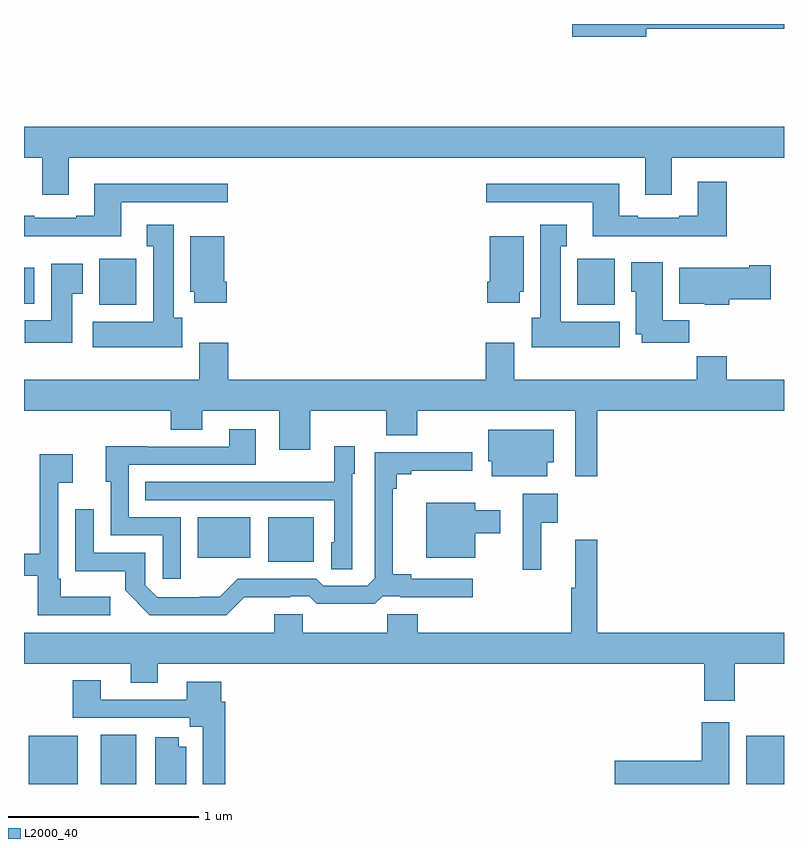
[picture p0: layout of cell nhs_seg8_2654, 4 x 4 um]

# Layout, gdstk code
import gdstk
lib = gdstk.Library(unit=1e-6, precision=1e-09)
def R(c, l, rs):  # rectangles x0, y0, x1, y1
    for r in rs: c.add(gdstk.rectangle(r[:2], r[2:], *l))
def P(c, l, *ps):  # polygons
    for p in ps: c.add(gdstk.Polygon(p, *l))
L2000_40 = (2000, 40)

nhs_seg8_2654 = lib.new_cell('nhs_seg8_2654')
R(nhs_seg8_2654, L2000_40, [(279.026,1083.9,279.283,1084.153), (279.404,1083.9,279.592,1084.159), (282.8,1083.9,283,1084.153), (280.286,1085.069,280.525,1085.305), (279.914,1085.09,280.192,1085.305), (279.395,1086.422,279.592,1086.664), (281.912,1086.422,282.109,1086.664), (279,1086.428,279.055,1086.616)])
P(nhs_seg8_2654, L2000_40, [(282.274,1087.876),(283,1087.876),(283,1087.9),(281.886,1087.9),(281.886,1087.834),(282.274,1087.834)],
  [(279.235,1087.196),(282.269,1087.196),(282.269,1087.002),(282.409,1087.002),(282.409,1087.196),(283,1087.196),(283,1087.36),(279,1087.36),(279,1087.196),(279.095,1087.196),(279.095,1087.002),(279.235,1087.002)],
  [(282.698,1087.069),(282.545,1087.069),(282.545,1086.892),(282.449,1086.892),(282.449,1086.879),(282.229,1086.879),(282.229,1086.892),(282.133,1086.892),(282.133,1087.06),(281.433,1087.06),(281.433,1086.963),(281.993,1086.963),(281.993,1086.782),(282.698,1086.782)],
  [(279.511,1086.963),(280.072,1086.963),(280.072,1087.06),(279.371,1087.06),(279.371,1086.892),(279.275,1086.892),(279.275,1086.879),(279.055,1086.879),(279.055,1086.892),(279,1086.892),(279,1086.782),(279.511,1086.782)],
  [(279.832,1086.354),(279.787,1086.354),(279.787,1086.844),(279.647,1086.844),(279.647,1086.731),(279.68,1086.731),(279.68,1086.334),(279.363,1086.334),(279.363,1086.2),(279.832,1086.2)],
  [(282.136,1086.334),(281.824,1086.334),(281.824,1086.731),(281.857,1086.731),(281.857,1086.844),(281.717,1086.844),(281.717,1086.354),(281.672,1086.354),(281.672,1086.2),(282.136,1086.2)],
  [(280.067,1086.544),(280.054,1086.544),(280.054,1086.784),(279.875,1086.784),(279.875,1086.492),(279.896,1086.492),(279.896,1086.432),(280.067,1086.432)],
  [(281.608,1086.492),(281.629,1086.492),(281.629,1086.784),(281.45,1086.784),(281.45,1086.544),(281.438,1086.544),(281.438,1086.432),(281.608,1086.432)],
  [(282.5,1086.34),(282.361,1086.34),(282.361,1086.646),(282.197,1086.646),(282.197,1086.492),(282.221,1086.492),(282.221,1086.266),(282.251,1086.266),(282.251,1086.222),(282.5,1086.222)],
  [(279.253,1086.481),(279.31,1086.481),(279.31,1086.637),(279.143,1086.637),(279.143,1086.34),(279.004,1086.34),(279.004,1086.222),(279.253,1086.222)],
  [(282.713,1086.451),(282.931,1086.451),(282.931,1086.629),(282.818,1086.629),(282.818,1086.616),(282.449,1086.616),(282.449,1086.428),(282.582,1086.428),(282.582,1086.422),(282.713,1086.422)],
  [(282.017,1085.864),(283,1085.864),(283,1086.028),(282.698,1086.028),(282.698,1086.152),(282.541,1086.152),(282.541,1086.028),(281.581,1086.028),(281.581,1086.223),(281.429,1086.223),(281.429,1086.028),(280.076,1086.028),(280.076,1086.223),(279.923,1086.223),(279.923,1086.028),(279,1086.028),(279,1085.864),(279.773,1085.864),(279.773,1085.765),(279.937,1085.765),(279.937,1085.864),(280.343,1085.864),(280.343,1085.658),(280.507,1085.658),(280.507,1085.864),(280.907,1085.864),(280.907,1085.736),(281.071,1085.736),(281.071,1085.864),(281.901,1085.864),(281.901,1085.52),(282.017,1085.52)],
  [(279.825,1085.304),(279.552,1085.304),(279.552,1085.58),(280.219,1085.58),(280.219,1085.767),(280.079,1085.767),(280.079,1085.676),(279.649,1085.676),(279.649,1085.678),(279.431,1085.678),(279.431,1085.49),(279.456,1085.49),(279.456,1085.208),(279.729,1085.208),(279.729,1084.98),(279.825,1084.98)],
  [(281.755,1085.594),(281.788,1085.594),(281.788,1085.764),(281.444,1085.764),(281.444,1085.598),(281.462,1085.598),(281.462,1085.519),(281.755,1085.519)],
  [(280.728,1085.532),(280.741,1085.532),(280.741,1085.677),(280.632,1085.677),(280.632,1085.491),(280.315,1085.491),(280.315,1085.49),(279.637,1085.49),(279.637,1085.394),(280.632,1085.394),(280.632,1085.172),(280.616,1085.172),(280.616,1085.029),(280.728,1085.029)],
  [(280.16,1084.883),(280.4,1084.883),(280.4,1084.887),(280.5,1084.887),(280.54,1084.848),(280.847,1084.848),(280.887,1084.887),(280.981,1084.887),(280.981,1084.883),(281.362,1084.883),(281.362,1084.98),(281.038,1084.98),(281.038,1085.003),(280.942,1085.003),(280.942,1085.453),(280.961,1085.453),(280.961,1085.53),(281.038,1085.53),(281.038,1085.549),(281.359,1085.549),(281.359,1085.646),(280.845,1085.646),(280.845,1084.983),(280.806,1084.944),(280.575,1084.944),(280.539,1084.98),(280.125,1084.98),(280.031,1084.886),(279.926,1084.886),(279.926,1084.884),(279.702,1084.884),(279.639,1084.947),(279.639,1085.118),(279.366,1085.118),(279.366,1085.347),(279.27,1085.347),(279.27,1085.021),(279.532,1085.021),(279.532,1084.919),(279.662,1084.788),(280.065,1084.788)],
  [(279.454,1084.885),(279.193,1084.885),(279.193,1084.981),(279.18,1084.981),(279.18,1085.486),(279.256,1085.486),(279.256,1085.635),(279.083,1085.635),(279.083,1085.113),(279,1085.113),(279,1084.997),(279.072,1084.997),(279.072,1084.788),(279.454,1084.788)],
  [(281.723,1085.276),(281.809,1085.276),(281.809,1085.428),(281.625,1085.428),(281.625,1085.028),(281.723,1085.028)],
  [(281.374,1085.219),(281.506,1085.219),(281.506,1085.341),(281.374,1085.341),(281.374,1085.38),(281.117,1085.38),(281.117,1085.09),(281.374,1085.09)],
  [(282.741,1084.532),(283,1084.532),(283,1084.696),(282.017,1084.696),(282.017,1085.185),(281.9,1085.185),(281.9,1084.932),(281.881,1084.932),(281.881,1084.696),(281.072,1084.696),(281.072,1084.794),(280.912,1084.794),(280.912,1084.696),(280.467,1084.696),(280.467,1084.794),(280.316,1084.794),(280.316,1084.696),(279,1084.696),(279,1084.532),(279.563,1084.532),(279.563,1084.433),(279.703,1084.433),(279.703,1084.532),(282.581,1084.532),(282.581,1084.338),(282.741,1084.338)],
  [(280.058,1084.334),(280.039,1084.334),(280.039,1084.438),(279.857,1084.438),(279.857,1084.344),(279.403,1084.344),(279.403,1084.447),(279.256,1084.447),(279.256,1084.248),(279.872,1084.248),(279.872,1084.202),(279.942,1084.202),(279.942,1083.9),(280.058,1083.9)],
  [(282.712,1084.225),(282.566,1084.225),(282.566,1084.022),(282.108,1084.022),(282.108,1083.9),(282.712,1083.9)],
  [(279.853,1084.096),(279.814,1084.096),(279.814,1084.145),(279.692,1084.145),(279.692,1083.9),(279.853,1083.9)])

lib.write_gds('nhs_seg8_2654.gds')
